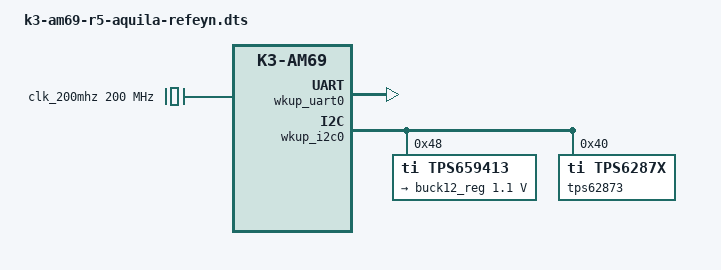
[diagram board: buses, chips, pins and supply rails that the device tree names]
// SPDX-License-Identifier: GPL-2.0-or-later OR MIT
/*
 * Copyright 2024 Toradex - https://www.toradex.com/
 * Copyright 2025 Refeyn
 */

/dts-v1/;

#include "k3-am69-aquila-refeyn.dts"
#include "k3-am69-aquila-lpddr4-4266.dtsi"
#include "k3-j784s4-ddr.dtsi"
#include "k3-am69-aquila-refeyn-u-boot.dtsi"

/ {
	chosen {
		firmware-loader = &fs_loader0;
		stdout-path = &main_uart8;
		tick-timer = &timer1;
	};

	aliases {
		remoteproc0 = &sysctrler;
		remoteproc1 = &a72_0;
	};

	fs_loader0: fs_loader@0 {
		compatible = "u-boot,fs-loader";
		bootph-all;
	};

	a72_0: a72@0 {
		compatible = "ti,am654-rproc";
		reg = <0x0 0x00a90000 0x0 0x10>;
		power-domains = <&k3_pds 61 TI_SCI_PD_EXCLUSIVE>,
				<&k3_pds 202 TI_SCI_PD_EXCLUSIVE>;
		resets = <&k3_reset 202 0>;
		clocks = <&k3_clks 61 0>;
		assigned-clocks = <&k3_clks 61 0>, <&k3_clks 202 0>, <&k3_clks 157 174>;
		assigned-clock-parents = <&k3_clks 61 2>, <0>, <&k3_clks 157 176>;
		assigned-clock-rates = <200000000>, <2000000000>, <25000000>;
		ti,sci = <&sms>;
		ti,sci-proc-id = <32>;
		ti,sci-host-id = <10>;
		bootph-pre-ram;
	};

	clk_200mhz: dummy_clock_200mhz {
		compatible = "fixed-clock";
		#clock-cells = <0>;
		clock-frequency = <200000000>;
		bootph-pre-ram;
	};
};

&cbass_mcu_wakeup {
	sa3_secproxy: secproxy@44880000 {
		bootph-pre-ram;
		compatible = "ti,am654-secure-proxy";
		reg = <0x0 0x44880000 0x0 0x20000>,
		      <0x0 0x44860000 0x0 0x20000>,
		      <0x0 0x43600000 0x0 0x10000>;
		reg-names = "rt", "scfg", "target_data";
		#mbox-cells = <1>;
	};

	mcu_secproxy: secproxy@2a380000 {
		compatible = "ti,am654-secure-proxy";
		reg = <0x0 0x2a380000 0x0 0x80000>,
		      <0x0 0x2a400000 0x0 0x80000>,
		      <0x0 0x2a480000 0x0 0x80000>;
		reg-names = "rt", "scfg", "target_data";
		#mbox-cells = <1>;
		bootph-pre-ram;
	};

	sysctrler: sysctrler {
		compatible = "ti,am654-system-controller";
		mboxes= <&mcu_secproxy 4>, <&mcu_secproxy 5>, <&sa3_secproxy 5>;
		mbox-names = "tx", "rx", "boot_notify";
		bootph-pre-ram;
	};

	dm_tifs: dm-tifs {
		compatible = "ti,j721e-dm-sci";
		ti,host-id = <3>;
		ti,secure-host;
		mbox-names = "rx", "tx";
		mboxes= <&mcu_secproxy 21>,
			<&mcu_secproxy 23>;
		bootph-pre-ram;
	};
};

&sms {
	mboxes= <&mcu_secproxy 8>, <&mcu_secproxy 6>, <&mcu_secproxy 5>;
	mbox-names = "tx", "rx", "notify";
	ti,host-id = <4>;
	ti,secure-host;
};

&wkup_uart0 {
	status = "okay";
};

&main_sdhci0 {
	/delete-property/ power-domains;
	/delete-property/ assigned-clocks;
	/delete-property/ assigned-clock-parents;
	clock-names = "clk_xin";
	clocks = <&clk_200mhz>;
};

&main_sdhci1 {
	/delete-property/ power-domains;
	/delete-property/ assigned-clocks;
	/delete-property/ assigned-clock-parents;
	clock-names = "clk_xin";
	clocks = <&clk_200mhz>;
};

&mcu_ringacc {
	ti,sci = <&dm_tifs>;
};

&mcu_udmap {
	ti,sci = <&dm_tifs>;
};

&wkup_i2c0 {
	bootph-pre-ram;

	tps659413: tps659413@48 {
		compatible = "ti,tps659413";
		reg = <0x48>;
		bootph-pre-ram;

		regulators: regulators {
			bootph-pre-ram;
			buck12_reg: buck12 {
				/*VDD_DDR_1V1*/
				regulator-name = "buck12";
				regulator-min-microvolt = <1100000>;
				regulator-max-microvolt = <1100000>;
				regulator-always-on;
				regulator-boot-on;
				bootph-pre-ram;
			};
		};

		esm: esm {
			compatible = "ti,tps659413-esm";
			bootph-pre-ram;
		};
	};

	tps62873: tps62873@40 {
		compatible = "ti,tps6287x";
		bootph-pre-ram;
		reg = <0x40>;
		regulator-name = "VDD_CPU_AVS";
		regulator-min-microvolt = <750000>;
		regulator-max-microvolt = <1330000>;
		regulator-boot-on;
		regulator-always-on;
	};
};

&wkup_vtm0 {
	vdd-supply-2 = <&tps62873>;
	bootph-pre-ram;
};
